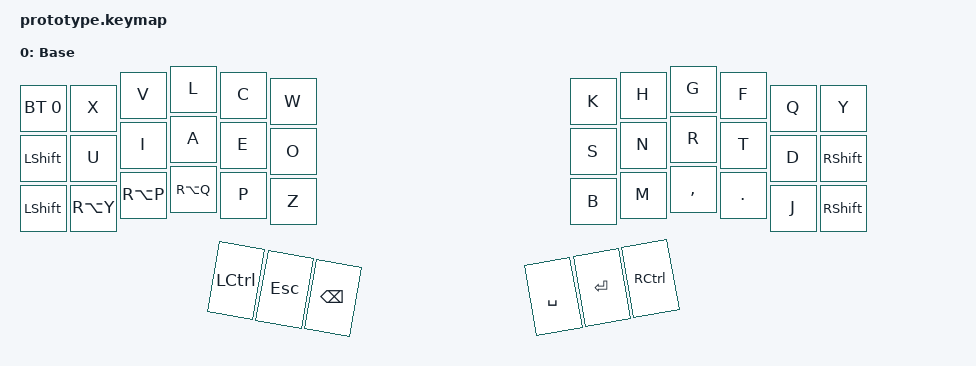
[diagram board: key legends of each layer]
/*
 * Copyright (c) 2020 The ZMK Contributors
 *
 * SPDX-License-Identifier: MIT
 */

#include <behaviors.dtsi>
#include <dt-bindings/zmk/bt.h>
#include <dt-bindings/zmk/ext_power.h>
#include <dt-bindings/zmk/keys.h>
#include <dt-bindings/zmk/outputs.h>

#define BASE  0

/ {
    keymap {
        compatible = "zmk,keymap";

        base_layer {
            label = "Base";
            bindings = <
// --------------------------------------------------------------------------------------------------------------------------------------------------------------------------------------
// |     TAB     |      X      |      V      |      L      |      C      |      W      |            |      K      |      H      |      G      |      F      |      Q      |      Y      |
// |    SHIFT    |      U      |      I      |      A      |      E      |      O      |            |      S      |      N      |      R      |      T      |      D      |    SHIFT    |
// |    SHIFT    |      Ü      |      Ö      |      Ä      |      P      |      Z      |            |      B      |      M      |      ,      |      .      |      J      |    SHIFT    |
//                                           |    CTRL     |   LT3 ESC   |   LT2 BKSP  |            |  LT2 SPC    |   LT3 RET   |    CTRL     |

     &bt BT_SEL 0  &kp X         &kp V         &kp L         &kp C         &kp W                      &kp K         &kp H         &kp G         &kp F         &kp Q         &kp Y
     &kp LSHFT     &kp U         &kp I         &kp A         &kp E         &kp O                      &kp S         &kp N         &kp R         &kp T         &kp D         &kp RSHFT
     &kp LSHFT     &kp RA(Y)     &kp RA(P)     &kp RA(Q)     &kp P         &kp Z                      &kp B         &kp M         &kp COMMA     &kp DOT       &kp J         &kp RSHFT
                                               &kp LCTRL     &kp ESC       &kp BKSP                   &kp SPC       &kp RET       &kp RCTRL
            >;
        };
	};
};
